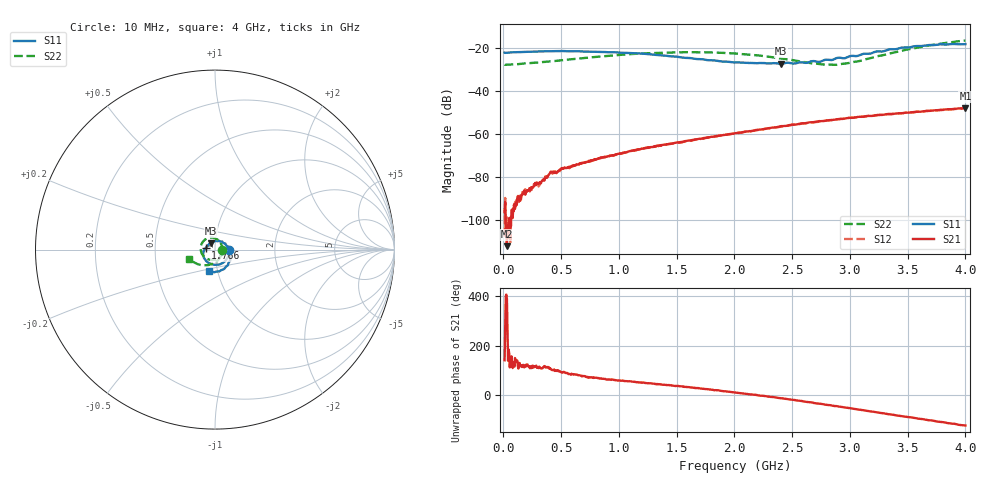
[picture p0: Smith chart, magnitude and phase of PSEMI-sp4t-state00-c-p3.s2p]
! 5/5/2016 4:45:18 PM
! C:\ANRITSUVNA\DATA\PSEMI-SP4T-STATE00-C-P3.S2P
! CHANNEL.1
! TR.MEASUREMENT
! CORRECTED.DATA
# GHZ S RI R 50.0
! FREQ.GHZ  S11RE  S11IM  S21RE  S21IM  S12RE  S12IM  S22RE  S22IM
!; PortSelection: Port_12
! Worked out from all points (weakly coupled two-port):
!   801 points, 10 MHz to 4 GHz, reference 50 ohm
!   highest |S21| = -47.91 dB at 4 GHz (marker M1); lowest = -112.3 dB at 29.95 MHz (marker M2)
!   lowest |S11| = -27.2 dB at 2.404 GHz (marker M3), VSWR 1.09, Z = 47.5 + j3.44 ohm
!   |S11| at or under -10 dB: start of sweep to end of sweep
!   |S22| runs from -27.7 to -16.3 dB; largest |S21 - S12| = 0.00011
!   S11 on the Smith chart (normalised r, x): 10 MHz: 1.17, -0.01; 1.766 GHz: 0.90, +0.02; 4 GHz: 0.91, -0.22
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0.01  0.0789 -0.0038  -1.15e-05 9.7e-06  -3.8e-06 1.4e-06  0.0416 -0.00283
0.02995  0.0788 -0.00511  2.1e-06 1.2e-06  -9.3e-06 6.5e-06  0.0414 -0.00319
0.359125  0.053 -0.0665  -3.92e-05 8.2e-05  -4.15e-05 8.84e-05  0.0265 -0.0402
0.4139875  0.0438 -0.0738  -2.99e-05 0.000123  -2.34e-05 0.000125  0.0214 -0.0451
0.458875  0.0357 -0.0778  -1.87e-05 0.000121  -2.31e-05 0.000128  0.0165 -0.0483
0.50875  0.0269 -0.0822  -5.9e-06 0.000154  -3.9e-06 0.000154  0.011 -0.0518
0.558625  0.0176 -0.0832  1.13e-05 0.000161  1.16e-05 0.000158  0.00486 -0.0541
0.678325  -0.00481 -0.0842  5.44e-05 0.000199  5.29e-05 0.000202  -0.0107 -0.0575
0.857875  -0.035 -0.0743  0.000119 0.000256  0.000124 0.000258  -0.0346 -0.055
1.341662  -0.0656 -0.0228  0.000387 0.000366  0.000378 0.000359  -0.0781 -0.00948
1.7656  -0.0523 0.00851  0.000768 0.000324  0.000767 0.000322  -0.0667 0.0451
2.005  -0.0429 0.0186  0.00104 0.000169  0.00102 0.000162  -0.0414 0.0636
2.404  -0.0241 0.0361  0.00147 -0.000372  0.00144 -0.00039  0.0124 0.0568
2.62345  -0.00274 0.0458  0.00158 -0.000878  0.00158 -0.000845  0.0337 0.0328
2.673325  0.00393 0.05  0.00161 -0.000987  0.0016 -0.000992  0.0364 0.0253
2.733175  0.0113 0.047  0.00161 -0.00117  0.00158 -0.00114  0.0395 0.0167
2.897762  0.039 0.0457  0.00151 -0.00164  0.00153 -0.00163  0.0403 -0.011
2.952625  0.0445 0.0382  0.00143 -0.00178  0.00141 -0.00177  0.0391 -0.0201
3.087287  0.0665 0.0202  0.00123 -0.00219  0.00124 -0.00222  0.0293 -0.0416
3.336663  0.0885 -0.0313  0.000546 -0.00285  0.000538 -0.00289  -0.005 -0.0745
3.675813  0.0515 -0.1071  -0.000771 -0.00338  -0.000814 -0.00337  -0.0773 -0.0853
4  -0.0359 -0.12  -0.00229 -0.00331  -0.00234 -0.00323  -0.1441 -0.0496
